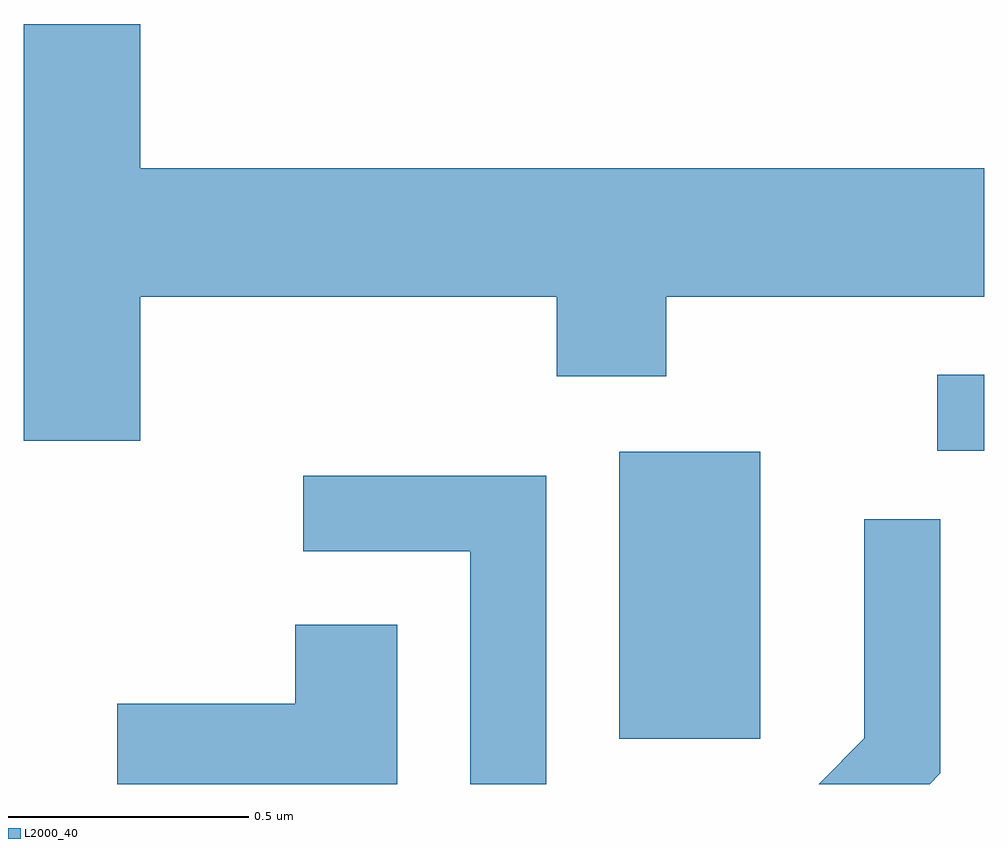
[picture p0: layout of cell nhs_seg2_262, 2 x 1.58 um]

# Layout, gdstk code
import gdstk
lib = gdstk.Library(unit=1e-6, precision=1e-09)
def R(c, l, rs):  # rectangles x0, y0, x1, y1
    for r in rs: c.add(gdstk.rectangle(r[:2], r[2:], *l))
def P(c, l, *ps):  # polygons
    for p in ps: c.add(gdstk.Polygon(p, *l))
L2000_40 = (2000, 40)

nhs_seg2_262 = lib.new_cell('nhs_seg2_262')
R(nhs_seg2_262, L2000_40, [(187.851,1102.896,188.144,1103.494), (188.513,1103.496,188.611,1103.654)])
P(nhs_seg2_262, L2000_40, [(186.854,1103.816),(187.721,1103.816),(187.721,1103.651),(187.949,1103.651),(187.949,1103.816),(188.611,1103.816),(188.611,1104.084),(186.854,1104.084),(186.854,1104.384),(186.611,1104.384),(186.611,1103.516),(186.854,1103.516)],
  [(187.699,1103.444),(187.193,1103.444),(187.193,1103.286),(187.541,1103.286),(187.541,1102.802),(187.699,1102.802)],
  [(188.519,1102.824),(188.519,1103.353),(188.361,1103.353),(188.361,1102.897),(188.266,1102.802),(188.497,1102.802)],
  [(187.389,1103.134),(187.176,1103.134),(187.176,1102.969),(186.806,1102.969),(186.806,1102.802),(187.389,1102.802)])

lib.write_gds('nhs_seg2_262.gds')
